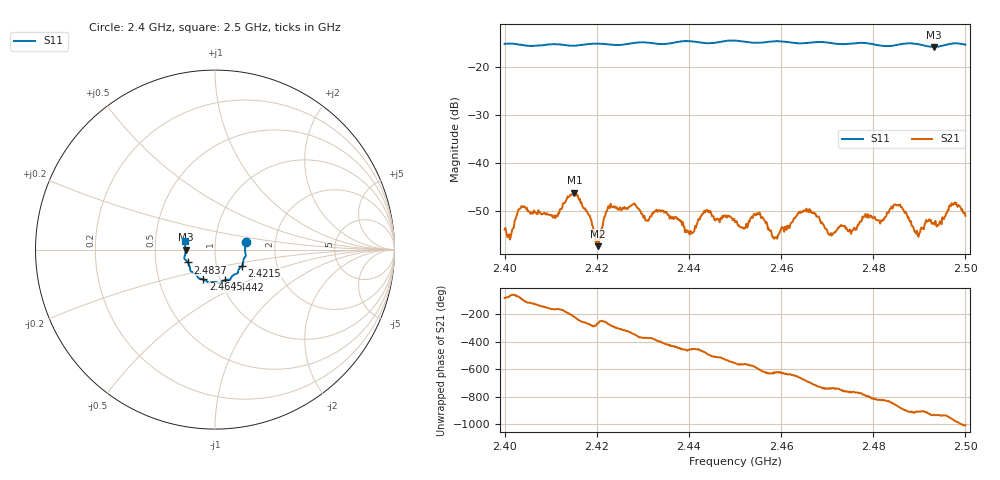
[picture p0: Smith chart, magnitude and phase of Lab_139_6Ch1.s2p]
# Hz S RI R 50
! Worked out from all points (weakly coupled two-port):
!   601 points, 2.4 GHz to 2.5 GHz, reference 50 ohm
!   highest |S21| = -46.22 dB at 2.4152 GHz (marker M1); lowest = -57.4 dB at 2.4203 GHz (marker M2)
!   lowest |S11| = -15.7 dB at 2.4932 GHz (marker M3), VSWR 1.39, Z = 35.9 - j0.0554 ohm
!   |S11| at or under -10 dB: start of sweep to end of sweep
!   S12 and S22 are empty: the file has one direction only
!   S11 on the Smith chart (normalised r, x): 2.4 GHz: 1.41, +0.12; 2.4215 GHz: 1.33, -0.25; 2.4442 GHz: 1.05, -0.37; 2.4645 GHz: 0.83, -0.29; 2.4837 GHz: 0.73, -0.11; 2.5 GHz: 0.71, +0.07
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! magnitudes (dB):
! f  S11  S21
! 2.4 GHz  -15.1  -53.9
! 2.4037 GHz  -15.3  -49.0
! 2.411 GHz  -15.2  -51.5
! 2.4152 GHz  -15.5  -46.2
! 2.4167 GHz  -15.3  -48.2
! 2.4203 GHz  -15.0  -57.4
! 2.4215 GHz  -15.1  -51.7
! 2.4333 GHz  -15.1  -49.9
! 2.4405 GHz  -14.5  -54.7
! 2.4442 GHz  -15.0  -50.3
! 2.45 GHz  -14.4  -52.3
! 2.455 GHz  -14.9  -50.7
! 2.4587 GHz  -14.5  -55.6
! 2.4645 GHz  -15.0  -50.2
! 2.4667 GHz  -14.8  -50.4
! 2.4707 GHz  -14.9  -55.1
! 2.4833 GHz  -15.6  -50.4
! 2.4837 GHz  -15.5  -49.6
! 2.4895 GHz  -15.1  -54.2
! 2.4932 GHz  -15.7  -52.5
! 2.4975 GHz  -15.0  -48.5
! 2.5 GHz  -15.3  -51.0
